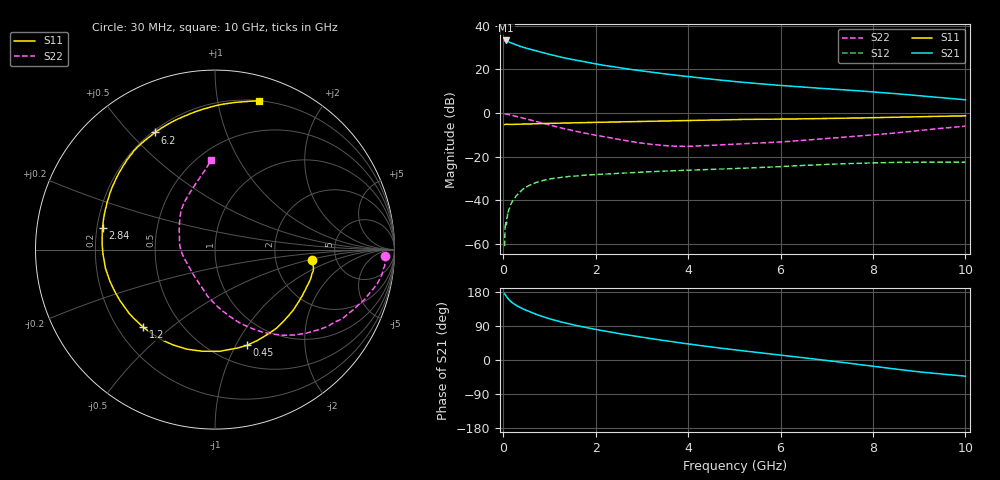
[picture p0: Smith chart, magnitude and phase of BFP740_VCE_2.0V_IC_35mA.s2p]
! (c) 2016  Infineon Technologies AG, Munich
! Infineon Technologies  Discrete & RF Semiconductors
! BFP740
! VCE =  2.0 V,  IC =  35 mA
! Common Emitter S-Parameters:  Jan 2016
# GHz  S  MA  R  50
!  f  S11  S21  S12  S22
! GHz  MAG  ANG  MAG  ANG  MAG  ANG  MAG  ANG
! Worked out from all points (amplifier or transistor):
!   229 points, 30 MHz to 10 GHz, reference 50 ohm
!   highest |S21| = 33.3 dB at 60 MHz (marker M1)
!   |S21| within 3 dB of that: start of sweep to 415.7 MHz
!   unconditionally stable (mu >= 1): 5.107 GHz to end of sweep
!   at 280 MHz: K = 0.31, MSG = 34.6 dB, |S12| = -38.0 dB
!   at 1.78 GHz: K = 0.57, MSG = 25.9 dB, |S12| = -28.4 dB
!   at 10 GHz: K = 1.01, MAG = 13.6 dB, |S12| = -22.5 dB
!   S11 on the Smith chart (normalised r, x): 30 MHz: 3.30, -0.56; 450 MHz: 0.71, -1.11; 1.2 GHz: 0.30, -0.40; 2.84 GHz: 0.22, +0.09; 6.2 GHz: 0.21, +0.59; 10 GHz: 0.20, +1.32
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0.03  0.5459 -6.3  45.12 174.7  0.0009 93.3  0.9473 -2.1
0.06  0.5601 -12.2  45.98 169.1  0.0031 82.6  0.9489 -5.7
0.08  0.5575 -16.2  45.29 165.4  0.004 69.2  0.9416 -7.9
0.12  0.5514 -24.0  42.77 159.5  0.0062 77.6  0.9237 -11.9
0.2  0.5514 -37.7  39.25 150.6  0.0096 73.3  0.8785 -18.4
0.3  0.5562 -52.1  35.87 142.8  0.0134 70.0  0.8287 -25.1
0.45  0.5622 -71.6  31.65 133.5  0.0189 62.9  0.7605 -34.2
0.6  0.5675 -87.4  28.64 125.9  0.0231 55.7  0.6904 -42.4
0.8  0.5765 -105.7  25 116.7  0.0276 48.8  0.6076 -51.7
1  0.5839 -120.4  22.14 108.9  0.0308 43.2  0.5333 -59.8
1.2  0.589 -132.9  19.65 102.0  0.0332 39.1  0.4699 -66.6
1.4  0.596 -143.3  17.62 95.9  0.0352 35.6  0.4213 -72.5
1.7  0.6044 -156.2  15.27 88.0  0.0376 32.0  0.3582 -80.6
2.2  0.6204 -173.5  12.3 76.2  0.0404 27.7  0.285 -94.0
2.84  0.6382 169.0  9.74 63.2  0.0438 24.0  0.2178 -111.2
3.4  0.6565 156.2  8.146 52.8  0.0464 21.5  0.1845 -130.8
4.1  0.6816 142.6  6.644 40.8  0.0497 18.7  0.175 -158.0
5.1  0.7132 128.3  5.179 25.5  0.0544 15.1  0.1968 173.9
6.2  0.7325 117.0  4.15 10.3  0.0613 11.3  0.2259 151.8
6.8  0.7471 110.3  3.74 1.7  0.0654 7.8  0.2517 141.5
8.4  0.8023 89.6  2.834 -22.6  0.0742 -4.1  0.3442 114.4
10  0.8651 73.4  2.016 -42.7  0.0753 -14.6  0.5011 92.5
